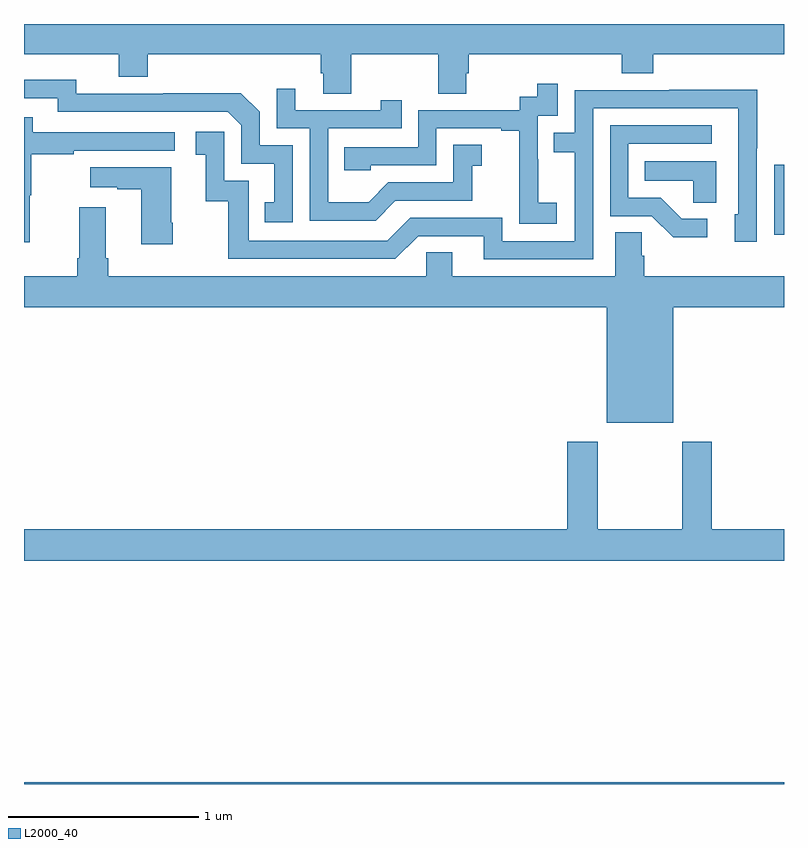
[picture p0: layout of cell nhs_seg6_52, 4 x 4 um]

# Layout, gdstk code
import gdstk
lib = gdstk.Library(unit=1e-6, precision=1e-09)
def R(c, l, rs):  # rectangles x0, y0, x1, y1
    for r in rs: c.add(gdstk.rectangle(r[:2], r[2:], *l))
def P(c, l, *ps):  # polygons
    for p in ps: c.add(gdstk.Polygon(p, *l))
L2000_40 = (2000, 40)

nhs_seg6_52 = lib.new_cell('nhs_seg6_52')
R(nhs_seg6_52, L2000_40, [(113,939.5,117,939.508), (116.949,942.39,117,942.76)])
P(nhs_seg6_52, L2000_40, [(114.723,943.34),(115.18,943.34),(115.18,943.132),(115.327,943.132),(115.327,943.242),(115.34,943.242),(115.34,943.34),(116.147,943.34),(116.147,943.241),(116.312,943.241),(116.312,943.34),(117,943.34),(117,943.5),(113,943.5),(113,943.34),(113.498,943.34),(113.498,943.223),(113.651,943.223),(113.651,943.34),(114.563,943.34),(114.563,943.242),(114.575,943.242),(114.575,943.132),(114.723,943.132)],
  [(114.414,942.861),(114.24,942.861),(114.24,943.038),(114.142,943.136),(113.734,943.136),(113.734,943.134),(113.274,943.134),(113.274,943.207),(113,943.207),(113,943.11),(113.178,943.11),(113.178,943.038),(114.072,943.038),(114.144,942.966),(114.144,942.765),(114.317,942.765),(114.317,942.561),(114.268,942.561),(114.268,942.456),(114.414,942.456)],
  [(115.804,942.559),(115.706,942.559),(115.706,942.788),(115.704,942.788),(115.704,943.017),(115.809,943.017),(115.809,943.186),(115.701,943.186),(115.701,943.116),(115.608,943.116),(115.608,943.047),(115.074,943.047),(115.074,942.852),(114.685,942.852),(114.685,942.729),(114.825,942.729),(114.825,942.756),(115.17,942.756),(115.17,942.951),(115.511,942.951),(115.511,942.939),(115.607,942.939),(115.607,942.655),(115.606,942.655),(115.606,942.449),(115.804,942.449)],
  [(114.955,942.57),(115.359,942.57),(115.359,942.755),(115.408,942.755),(115.408,942.865),(115.26,942.865),(115.26,942.666),(114.918,942.666),(114.814,942.562),(114.6,942.562),(114.6,942.951),(114.989,942.951),(114.989,943.099),(114.878,943.099),(114.878,943.047),(114.427,943.047),(114.427,943.159),(114.33,943.159),(114.33,942.951),(114.504,942.951),(114.504,942.465),(114.85,942.465)],
  [(115.995,943.056),(116.76,943.056),(116.76,942.498),(116.741,942.498),(116.741,942.354),(116.856,942.354),(116.856,942.847),(116.859,942.847),(116.859,943.154),(116.395,943.154),(116.395,943.152),(115.899,943.152),(115.899,942.927),(115.789,942.927),(115.789,942.826),(115.899,942.826),(115.899,942.357),(115.518,942.357),(115.518,942.48),(115.032,942.48),(114.912,942.36),(114.183,942.36),(114.183,942.675),(114.054,942.675),(114.054,942.934),(113.904,942.934),(113.904,942.813),(113.957,942.813),(113.957,942.567),(114.075,942.567),(114.075,942.264),(114.954,942.264),(115.074,942.384),(115.421,942.384),(115.421,942.261),(115.995,942.261)],
  [(113.03,942.6),(113.038,942.6),(113.038,942.814),(113.261,942.814),(113.261,942.834),(113.794,942.834),(113.794,942.93),(113.045,942.93),(113.045,943.009),(113,943.009),(113,942.351),(113.03,942.351)],
  [(116.596,942.474),(116.461,942.474),(116.35,942.585),(116.181,942.585),(116.181,942.87),(116.62,942.87),(116.62,942.966),(116.085,942.966),(116.085,942.489),(116.304,942.489),(116.417,942.377),(116.596,942.377)],
  [(116.644,942.778),(116.266,942.778),(116.266,942.674),(116.523,942.674),(116.523,942.559),(116.644,942.559)],
  [(113.784,942.454),(113.776,942.454),(113.776,942.745),(113.349,942.745),(113.349,942.641),(113.492,942.641),(113.492,942.631),(113.618,942.631),(113.618,942.342),(113.784,942.342)],
  [(116.416,942.008),(117,942.008),(117,942.172),(116.264,942.172),(116.264,942.281),(116.25,942.281),(116.25,942.404),(116.111,942.404),(116.111,942.172),(115.255,942.172),(115.255,942.299),(115.116,942.299),(115.116,942.172),(113.444,942.172),(113.444,942.268),(113.431,942.268),(113.431,942.535),(113.291,942.535),(113.291,942.268),(113.279,942.268),(113.279,942.172),(113,942.172),(113,942.008),(116.066,942.008),(116.066,941.402),(116.416,941.402)],
  [(117,940.84),(116.619,940.84),(116.619,941.302),(116.464,941.302),(116.464,940.84),(116.019,940.84),(116.019,941.302),(115.859,941.302),(115.859,940.84),(113,940.84),(113,940.676),(117,940.676)])

lib.write_gds('nhs_seg6_52.gds')
